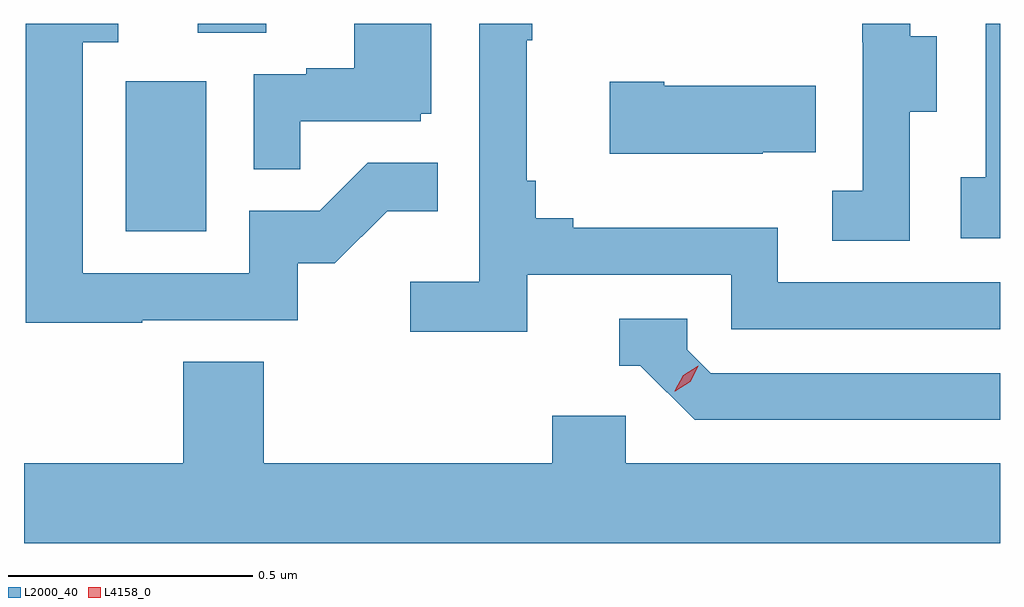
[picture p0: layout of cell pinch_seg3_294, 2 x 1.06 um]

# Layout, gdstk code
import gdstk
lib = gdstk.Library(unit=1e-6, precision=1e-09)
def R(c, l, rs):  # rectangles x0, y0, x1, y1
    for r in rs: c.add(gdstk.rectangle(r[:2], r[2:], *l))
def P(c, l, *ps):  # polygons
    for p in ps: c.add(gdstk.Polygon(p, *l))
L2000_40 = (2000, 40)
L4158_0 = (4158, 0)

pinch_seg3_294 = lib.new_cell('pinch_seg3_294')
R(pinch_seg3_294, L2000_40, [(912.794,722.868,912.958,723.175), (912.941,723.274,913.081,723.293)])
P(pinch_seg3_294, L2000_40, [(913.151,723.093),(913.398,723.093),(913.398,723.108),(913.42,723.108),(913.42,723.293),(913.262,723.293),(913.262,723.202),(913.163,723.202),(913.163,723.189),(913.056,723.189),(913.056,722.995),(913.151,722.995)],
  [(912.827,722.685),(913.146,722.685),(913.146,722.802),(913.222,722.802),(913.329,722.909),(913.433,722.909),(913.433,723.008),(913.289,723.008),(913.191,722.91),(913.047,722.91),(913.047,722.781),(912.705,722.781),(912.705,723.255),(912.778,723.255),(912.778,723.293),(912.589,723.293),(912.589,722.68),(912.827,722.68)],
  [(914.585,723.293),(914.556,723.293),(914.556,722.978),(914.505,722.978),(914.505,722.853),(914.585,722.853)],
  [(913.616,722.778),(914.034,722.778),(914.034,722.667),(914.585,722.667),(914.585,722.763),(914.13,722.763),(914.13,722.875),(913.711,722.875),(913.711,722.894),(913.634,722.894),(913.634,722.971),(913.615,722.971),(913.615,723.259),(913.627,723.259),(913.627,723.293),(913.518,723.293),(913.518,722.764),(913.377,722.764),(913.377,722.662),(913.616,722.662)],
  [(914.4,723.112),(914.455,723.112),(914.455,723.267),(914.401,723.267),(914.401,723.293),(914.303,723.293),(914.303,723.255),(914.304,723.255),(914.304,722.951),(914.241,722.951),(914.241,722.848),(914.4,722.848)],
  [(914.099,723.029),(914.207,723.029),(914.207,723.166),(913.897,723.166),(913.897,723.174),(913.785,723.174),(913.785,723.026),(914.099,723.026)],
  [(914.585,722.577),(913.992,722.577),(913.944,722.625),(913.944,722.688),(913.805,722.688),(913.805,722.592),(913.848,722.592),(913.959,722.481),(914.585,722.481)],
  [(914.585,722.392),(913.818,722.392),(913.818,722.49),(913.667,722.49),(913.667,722.392),(913.076,722.392),(913.076,722.6),(912.911,722.6),(912.911,722.392),(912.585,722.392),(912.585,722.228),(914.585,722.228)])
P(pinch_seg3_294, L4158_0, [(913.919,722.54),(913.919,722.541),(913.936,722.573),(913.967,722.592),(913.967,722.592),(913.967,722.591),(913.95,722.559),(913.92,722.54)])

lib.write_gds('pinch_seg3_294.gds')
